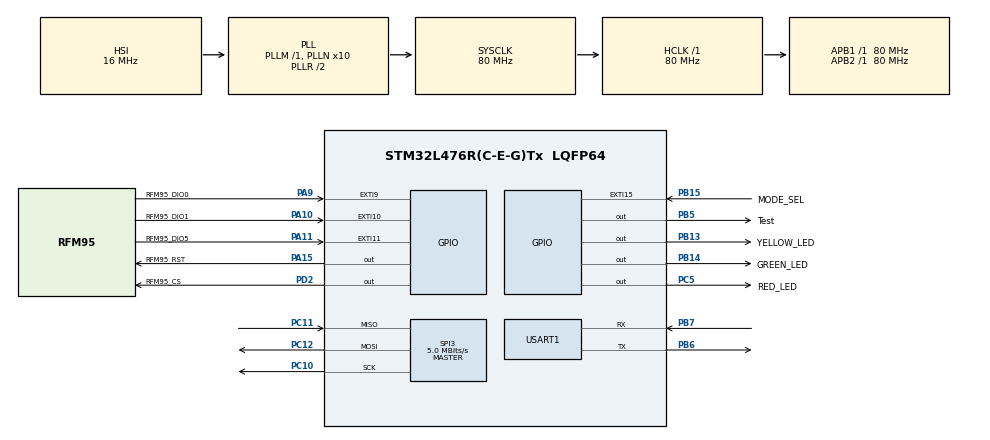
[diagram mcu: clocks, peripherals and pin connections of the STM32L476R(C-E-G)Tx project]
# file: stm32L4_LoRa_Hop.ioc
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Mcu.Family=STM32L4
Mcu.Name=STM32L476R(C-E-G)Tx
Mcu.Package=LQFP64
NVIC.EXTI15_10_IRQn=true\:0\:0\:false\:false\:true\:true\:true\:true
NVIC.EXTI9_5_IRQn=true\:0\:0\:false\:false\:true\:true\:true\:true
NVIC.LPTIM1_IRQn=true\:0\:0\:false\:false\:true\:true\:true\:true
NVIC.PriorityGroup=NVIC_PRIORITYGROUP_4
NVIC.RTC_WKUP_IRQn=true\:0\:0\:false\:false\:true\:true\:true\:true
PA10.GPIO_Label=RFM95_DIO1
PA10.Signal=GPXTI10
PA11.GPIO_Label=RFM95_DIO5
PA11.Signal=GPXTI11
PA13\ (JTMS-SWDIO).GPIO_Label=TMS
PA13\ (JTMS-SWDIO).Mode=Serial_Wire
PA13\ (JTMS-SWDIO).Signal=SYS_JTMS-SWDIO
PA14\ (JTCK-SWCLK).GPIO_Label=TCK
PA14\ (JTCK-SWCLK).Mode=Serial_Wire
PA14\ (JTCK-SWCLK).Signal=SYS_JTCK-SWCLK
PA15\ (JTDI).GPIO_Label=RFM95_RST
PA15\ (JTDI).GPIO_ModeDefaultOutputPP=GPIO_MODE_OUTPUT_OD
PA15\ (JTDI).GPIO_PuPd=GPIO_NOPULL
PA15\ (JTDI).PinState=GPIO_PIN_SET
PA15\ (JTDI).Signal=GPIO_Output
PA9.GPIO_Label=RFM95_DIO0
PA9.Signal=GPXTI9
PB13.GPIO_Label=YELLOW_LED
PB13.Signal=GPIO_Output
PB14.GPIO_Label=GREEN_LED
PB14.Signal=GPIO_Output
PB15.GPIO_Label=MODE_SEL
PB15.GPIO_PuPd=GPIO_PULLDOWN
PB15.Signal=GPXTI15
PB3\ (JTDO-TRACESWO).GPIO_Label=SWO
PB3\ (JTDO-TRACESWO).Signal=SYS_JTDO-SWO
PB5.GPIO_Label=Test
PB5.Signal=GPIO_Output
PB6.Mode=Asynchronous
PB6.Signal=USART1_TX
PB7.GPIO_PuPd=GPIO_PULLDOWN
PB7.Mode=Asynchronous
PB7.Signal=USART1_RX
PC10.Mode=Full_Duplex_Master
PC10.Signal=SPI3_SCK
PC11.GPIO_PuPd=GPIO_PULLUP
PC11.Mode=Full_Duplex_Master
PC11.Signal=SPI3_MISO
PC12.Mode=Full_Duplex_Master
PC12.Signal=SPI3_MOSI
PC14-OSC32_IN\ (PC14).Mode=LSE-External-Oscillator
PC14-OSC32_IN\ (PC14).Signal=RCC_OSC32_IN
PC15-OSC32_OUT\ (PC15).Mode=LSE-External-Oscillator
PC15-OSC32_OUT\ (PC15).Signal=RCC_OSC32_OUT
PC5.GPIO_Label=RED_LED
PC5.Signal=GPIO_Output
PD2.GPIO_Label=RFM95_CS
PD2.GPIO_ModeDefaultOutputPP=GPIO_MODE_OUTPUT_PP
PD2.GPIO_PuPd=GPIO_PULLUP
PD2.GPIO_Speed=GPIO_SPEED_FREQ_MEDIUM
PD2.PinState=GPIO_PIN_SET
PD2.Signal=GPIO_Output
ProjectManager.HeapSize=0x200
ProjectManager.StackSize=0x400
ProjectManager.TargetToolchain=STM32CubeIDE
RCC.ADCFreq_Value=64000000
RCC.AHBFreq_Value=80000000
RCC.APB1Freq_Value=80000000
RCC.APB1TimFreq_Value=80000000
RCC.APB2Freq_Value=80000000
RCC.APB2TimFreq_Value=80000000
RCC.CK48CLockSelection=RCC_USBCLKSOURCE_PLL
RCC.CortexFreq_Value=80000000
RCC.HCLKFreq_Value=80000000
RCC.HSE_VALUE=8000000
RCC.HSI_VALUE=16000000
RCC.LPTIM1CLockSelection=RCC_LPTIM1CLKSOURCE_LSE
RCC.MSI_VALUE=4000000
RCC.PLLN=10
RCC.PLLQ=RCC_PLLQ_DIV8
RCC.PLLSourceVirtual=RCC_PLLSOURCE_HSI
RCC.PREFETCH_ENABLE=1
RCC.RTCClockSelection=RCC_RTCCLKSOURCE_LSE
RCC.SYSCLKFreq_VALUE=80000000
RCC.SYSCLKSource=RCC_SYSCLKSOURCE_PLLCLK
RCC.USBFreq_Value=20000000
RCC.VCOOutputFreq_Value=160000000
SPI3.BaudRatePrescaler=SPI_BAUDRATEPRESCALER_16
SPI3.CalculateBaudRate=5.0 MBits/s
SPI3.DataSize=SPI_DATASIZE_8BIT
SPI3.Direction=SPI_DIRECTION_2LINES
SPI3.Mode=SPI_MODE_MASTER
SPI3.VirtualType=VM_MASTER
USART1.VirtualMode-Asynchronous=VM_ASYNC
VP_LPTIM1_VS_LPTIM_counterModeInternalClock.Mode=Counts__internal_clock_event_00
VP_RNG_VS_RNG.Mode=RNG_Activate
VP_RTC_VS_RTC_Activate.Mode=RTC_Enabled
VP_RTC_VS_RTC_Calendar.Mode=RTC_Calendar
VP_RTC_VS_RTC_WakeUp_intern.Mode=WakeUp
board=NUCLEO-L476RG

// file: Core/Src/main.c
/* USER CODE BEGIN Header */
/**
  ******************************************************************************
  * @file           : main.c
  * @brief          : Main program body
  ******************************************************************************
  * @attention
  *
  * Copyright (c) 2025 STMicroelectronics.
  * All rights reserved.
  *
  * This software is licensed under terms that can be found in the LICENSE file
  * in the root directory of this software component.
  * If no LICENSE file comes with this software, it is provided AS-IS.
  *
  ******************************************************************************
  */
/* USER CODE END Header */
#include "main.h"

/* USER CODE BEGIN Includes */
#include "stdio.h"
#include "string.h"
#include "lora.h"
#include "sys_settings.h"
#include "buff_manager.h"
#include "app_events.h"
#include "network_manager.h"
#include "status_led.h"
/* USER CODE END Includes */

/* USER CODE BEGIN PTD */
// rfm95 handler
rfm95_handle_t rfm95_handle = {0};

// setup linked list to hanlde TX sequence
LL_node tx_buff[BUFF_FIFO_SIZE];
LL_handler h_tx = {
    .head = 0,
    .tail = 0,
    .ins_idx = 0,

    .ll_status = LL_EMPTY,

    .ll_buff = &tx_buff[0]
};

// define RX buffer for BC payloads
rnode h_rx[BUFF_FIFO_SIZE];

// setup handler to manage RX - TX events
h_rx_tx h_buffs = {
    .h_rx  = &h_rx[0],
    .h_tx  = &h_tx,
    .state = FIFO_READY
};

// Network status handler
network_ctx_t h_net = {0};

// Structure to get current link quality status during deployment
link_metrics_t metrics = {0};

// system handler
Sys_handler h_sys = {
    //.evt_flags = SYS_EVT_NO_PENDING,
    .state     = SYS_RDY
};

/* USER CODE END PTD */

LPTIM_HandleTypeDef hlptim1;

RNG_HandleTypeDef hrng;

RTC_HandleTypeDef hrtc;

SPI_HandleTypeDef hspi3;

UART_HandleTypeDef huart1;

/* USER CODE BEGIN PV */
// ------------- LPTIM ----------------
volatile uint32_t lptim_tick_msb = 1;

// ----------- RX-TX FIFO -------------
events_flags app_flags = {0};           // handle status flags from RX TX buffers operation

uint32_t tx_evt_time  = 0; // TX scheduler timer
uint32_t alrm_th_time = 0; // Track threshold time in ms to shunt off ALRM state

volatile uint8_t alrm_cycles_cnt = 0; // track how many alarm standby cycles have passed

/* USER CODE END PV */

void SystemClock_Config(void);
static void MX_GPIO_Init(void);
static void MX_RTC_Init(void);
static void MX_SPI3_Init(void);
static void MX_LPTIM1_Init(void);
static void MX_RNG_Init(void);
static void MX_USART1_UART_Init(void);
/* USER CODE BEGIN PFP */
int _write(int file, char *ptr, int len);
void debug_pin_set();
void debug_pin_rst();

static bool     init_rfm();
static uint32_t get_precision_tick();
static void 		precision_sleep_until(uint32_t target_ticks);
static uint8_t	get_battery_level();
static void     rfm95_after_interrupts_configured();

uint8_t get_random_number(uint32_t *random_number, uint16_t timeout);
static uint16_t random_wait(uint16_t min, uint16_t max);
static void schedule_tx_evt(uint16_t min, uint16_t max);
static void schedule_alrmOFF_evt();
static inline void extend_alarm_time();
static uint32_t get_currTime_ms();
static inline int julian_day(int year, int month, int day);

static void update_status_led(const network_ctx_t *h_net);

void MySystemClock_Config(void);
void enterStopMode();

void print_LL();
/* USER CODE END PFP */

int main(void)
{

  /* MCU Configuration--------------------------------------------------------*/

  /* Reset of all peripherals, Initializes the Flash interface and the Systick. */
  HAL_Init();

  /* Configure the system clock */
  SystemClock_Config();

  /* Initialize all configured peripherals */
  MX_GPIO_Init();
  MX_RTC_Init();
  MX_SPI3_Init();
  MX_LPTIM1_Init();
  MX_RNG_Init();
  MX_USART1_UART_Init();
  /* USER CODE BEGIN 2 */

  // needed after programming -> avoid conflicts with sleep mode
  HAL_Delay(2000);

  // init RX and TX handler
  init_buffers(&h_buffs);

  // init RF in RX mode
  if (!init_rfm()) {
#if DEBUG_PRINT_ON
    printf("Error during RFM initialization\r\n");
#endif
  }

  /* If selector not in discovery mode */
  if (HAL_GPIO_ReadPin(MODE_SEL_GPIO_Port, MODE_SEL_Pin) != GPIO_PIN_RESET)
  {
  	while(1)
  	{
  		HAL_GPIO_TogglePin(RED_LED_GPIO_Port, RED_LED_Pin);
  		HAL_Delay(500);
  	}
  }

	#if NODE_IS_ROOT

	network_init_root(&h_net);

	#else

	network_init_unassigned(&h_net);

	/* generate and assign random token to this device */
	uint32_t discovery_token;
	uint8_t rng_err = get_random_number(&discovery_token, 5);
	h_net.discovery_token = discovery_token;

	schedule_tx_evt(DISCOVERY_PERIOD_MIN_MS, DISCOVERY_PERIOD_MAX_MS);

	#endif

  /* USER CODE END 2 */

  /* Infinite loop */
  /* USER CODE BEGIN WHILE */
  while (1){

  	// Update LEDs indicators:
  	update_status_led(&h_net);

    /* USER CODE END WHILE */

    /* USER CODE BEGIN 3 */

    /* System state machine */
    switch (h_sys.state){

			/* =====================================================
			 * SYS READY: SCHEDULE NEW EVENT
			 * ===================================================== */
      case SYS_RDY:
      {

        /* atomicity ensured during task registration */
        HAL_SuspendTick();
        __disable_irq();

        /* check pending flags */
        if (h_sys.rx_pending)									// RX event is pending
        {
        	//h_sys.evt_flags & SYS_EVT_RX_PENDING

          h_sys.state = SYS_HANDLE_RX;
          //h_sys.evt_flags &= ~SYS_EVT_RX_PENDING;
          h_sys.rx_pending = 0;

        }
        else if (h_sys.deploy_pending)  			// DEPLOY request event
        {
            /*
             * Process MODE_SEL before a potentially pending
             * periodic LINK_PROBE TX.
             */
            h_sys.state =
                SYS_HANDLE_MODE_SWITCH;

            h_sys.deploy_pending =
                false;
        }
        else if (h_sys.tx_pending)						// TX event is pending
        {
        	// h_sys.evt_flags & SYS_EVT_TX_PENDING

          h_sys.state = SYS_HANLDE_TX;
          //h_sys.evt_flags &= ~SYS_EVT_TX_PENDING;
          h_sys.tx_pending = 0;

        }
        else if (h_sys.err_pending)						// ERR event is pending
        {
        	//h_sys.evt_flags & SYS_EVT_ERROR

          // RFU...
          h_sys.state = SYS_HANDLE_ERR;
          //h_sys.evt_flags &= ~SYS_EVT_ERROR;
          h_sys.err_pending = 0;

        }
        else if (h_sys.timeout_pending)				// TIMEOUT event is pending
        {
        	// h_sys.evt_flags & SYS_EVT_TIMEOUT

          // RFU...
          h_sys.state = SYS_HANDLE_TIMEOUT;
          //h_sys.evt_flags &= ~SYS_EVT_TIMEOUT;
          h_sys.timeout_pending = 0;

        }
        else
        {
          // No events pending -> back to sleep
          enterStopMode();
        }

        /* end of atomic block */
        HAL_ResumeTick();
        __enable_irq();

        break;
      }

			/* =====================================================
			 * HANDLE RECEIVE REQUEST
			 * ===================================================== */
			case SYS_HANDLE_RX:
			{
        debug_pin_set();
        app_flags = on_rx_event(&rfm95_handle, &h_buffs, &h_net);
        debug_pin_rst();

        if (app_flags.err_flags)		 /* If any error occurred */
        {

          bool spi_err      = app_flags.err_flags & EVT_RFM_SPI_ERR;
          bool rx_err       = app_flags.err_flags & EVT_RFM_RX_ERR;
          bool rx_buff_full = app_flags.err_flags & EVT_RX_FIFO_FULL;
          bool bad_pkt_err  = app_flags.err_flags & EVT_BAD_PKT_FORMAT;

          if (spi_err)
          {
            // reset RFM and restart in RX mode
            HAL_NVIC_DisableIRQ(EXTI15_10_IRQn);
            reset_rfm(&rfm95_handle);
            init_rfm();
          }
          if (rx_err)
          {
            // PKT dropped, do nothing...
          }
          if (rx_buff_full)
          {
            // Avoid (resize FIFO Buff capacity)
          }
          if (bad_pkt_err)
          {
            //  Pkt ignored...
          }

        }
        else if (app_flags.status_flags)		/* If status flags are present */
        {

          bool alrm_pkt    = app_flags.status_flags & EVT_ALARM_PKT;
          bool tx_new_pkt  = app_flags.status_flags & EVT_SCHEDULE_TX;
          bool tx_ack_pkt  = app_flags.status_flags & EVT_SCHEDULE_ACK;
          bool tx_pri_evt  = app_flags.status_flags & EVT_SCHEDULE_PRI_TX;

          if (alrm_pkt)
          {
            if (h_buffs.state != FIFO_ALARM_ON)
            {
              if(tx_new_pkt || tx_ack_pkt) h_buffs.state = FIFO_ALARM_ON;
              else
              {
                h_buffs.state = FIFO_ALARM_STDBY;
                schedule_alrmOFF_evt();
              }
            }
          }

          if (tx_ack_pkt)
          {
						/*
						 * Alarm ACK remains highest priority.
						 */
						schedule_tx_evt(
								MIN_WAIT_TIME_ALRM_ACK,
								MAX_WAIT_TIME_ALRM_ACK
						);
          }
          else if (tx_pri_evt)
          {
						/*
						 * DISC_OFFER / ACCEPT / CONFIRM
						 */
						schedule_tx_evt(
								MIN_WAIT_TIME_SHORT,
								MAX_WAIT_TIME_SHORT
						);
          }
          else if (tx_new_pkt)
          {
						schedule_tx_evt(
								MIN_WAIT_TIME_NEW,
								MAX_WAIT_TIME_NEW
						);
          }
        }

        // make system ready again
        h_sys.state = SYS_RDY;
        break;
			}

			/* =====================================================
			 * HANDLE DEPLOYMENT REQUEST
			 * ===================================================== */
      case SYS_HANDLE_MODE_SWITCH:
      {
				bool accepted =
						network_request_deployment(
								&h_net
						);

				if (accepted)
				{
					/*
					 * First DEPLOY_REQ should be sent quickly.
					 */
					schedule_tx_evt(
							MIN_WAIT_TIME_SHORT,
							MAX_WAIT_TIME_SHORT
					);
				}
				else
				{
					// ignore...
				}

				h_sys.state =
						SYS_RDY;

				break;
      }

      /* =====================================================
			 * HANDLE TRANSMISSION REQUEST
			 * ===================================================== */
      case SYS_HANLDE_TX:
      {
        HAL_RTCEx_DeactivateWakeUpTimer(&hrtc);

        debug_pin_set();
        app_flags = on_tx_event(&rfm95_handle, &h_buffs, &h_net);
        debug_pin_rst();

        if (app_flags.err_flags)		 /* If any error occurred */
        {

          bool spi_err = app_flags.err_flags & EVT_RFM_SPI_ERR;

          if (spi_err)
          {

            // reset RFM and restart in RX mode
            HAL_NVIC_DisableIRQ(EXTI15_10_IRQn);
            reset_rfm(&rfm95_handle);
            init_rfm();

            // reschedule a TX in case of error, just to avoid stucking in the TX queue
            schedule_tx_evt(MIN_WAIT_TIME_SHORT, MAX_WAIT_TIME_SHORT);
          }
          // RFU... add other flags

        }
        else if (app_flags.status_flags)		  /* If status flags are present */
        {

          bool rfm_modem_busy  = app_flags.status_flags & EVT_RFM_MODEM_RX;
          bool tx_fifo_empty   = app_flags.status_flags & EVT_TX_FIFO_EMPTY;
          bool tx_pri_evt      = app_flags.status_flags & EVT_SCHEDULE_PRI_TX;
          bool tx_normal_evt   = app_flags.status_flags & EVT_SCHEDULE_TX;
          bool tx_periodic_evt = app_flags.status_flags & EVT_SCHEDULE_PERIODIC_TX;

          if (rfm_modem_busy)
          {
						schedule_tx_evt(
								MIN_WAIT_TIME_SHORT,
								MAX_WAIT_TIME_SHORT
						);
          }

          else if (tx_pri_evt)
          {
						schedule_tx_evt(
								MIN_WAIT_TIME_SHORT,
								MAX_WAIT_TIME_SHORT
						);
          }

          else if (tx_normal_evt)
          {

          	if ((h_net.state == NODE_WAIT_DEPLOY_CONFIRM) &&
          	    (h_net.pending_net_tx == DEPLOY_REQ))
          	{
          		/*
          		 * If we are in DEPLOY_CONFIRM,
          		 * this is a DEPLOY_REQ retransmission.
          		 */
							schedule_tx_evt(
									MIN_WAIT_DEPLOY_RETX_MS,
									MAX_WAIT_DEPLOY_RETX_MS
							);
          	}
          	else if ((h_net.state == NODE_WAIT_DISC_CONFIRM) &&
								(h_net.pending_net_tx == DISC_ACCEPT))
						{
          		/*
							 * If we are waiting for DISC_CONFIRM,
							 * this is a DISC_ACCEPT retransmission.
							 */
							schedule_tx_evt(
									MIN_WAIT_TIME_LONG,
									MAX_WAIT_TIME_LONG
							);
						}
						else if (h_buffs.state == FIFO_READY)
						{
							schedule_tx_evt(
									MIN_WAIT_TIME_LONG,
									MAX_WAIT_TIME_LONG
							);
						}
						else
						{
							schedule_tx_evt(
									MIN_WAIT_ALRM_RETX,
									MAX_WAIT_ALRM_RETX
							);
						}
          }

					else if (tx_periodic_evt)
					{
						if (h_net.state == NODE_DISCOVERING)
						{
							/*
							 * DISC_REQ remains pending while NODE_DISCOVERING.
							 */
							schedule_tx_evt(
									DISCOVERY_PERIOD_MIN_MS,
									DISCOVERY_PERIOD_MAX_MS
							);
						}
						else if (h_net.state ==
										 NODE_ASSIGNED_PENDING_LINK)
						{
							/*
							 * LINK_REQ must be rescheduled when timer has elapsed
							 */
							schedule_tx_evt(
									LINK_TEST_PERIOD_MS,
									LINK_TEST_PERIOD_MS+50U
							);

							network_get_link_metrics(&h_net, &metrics);
						}
					}

					else if (tx_fifo_empty)
					{
						/*
						 * Keep your current ALARM state handling.
						 */
						if (h_buffs.state == FIFO_ALARM_ON){
							/* No alarm events are pending in TX queue */

							/* Program end of ALARM mode */
							h_buffs.state = FIFO_ALARM_STDBY;
							schedule_alrmOFF_evt();

						} else if (h_buffs.state == FIFO_ALARM_STDBY){
							/*
							 * If after an hysteresis time the system ALARM queue
							 * is still empty -> EXIT ALARM MODE
							 */
							h_buffs.state = FIFO_READY;
							init_buffers(&h_buffs);

						} else {
							// Normal operating mode -> do nothing
						}
					}

        }
        else 													 /* No events pending */
        {
          // no events pending -> do nothing
        }

        // make system ready again
        h_sys.state = SYS_RDY;
        break;
      }

      case SYS_HANDLE_ERR:       /* Sys handle ERR event */
      {
        // RFU...

        // make system ready again
        h_sys.state = SYS_RDY;
        break;
      }

      case SYS_HANDLE_TIMEOUT:   /* Sys handle TIMEOUT event */
      {
        //RFU...

        // make system ready again
        h_sys.state = SYS_RDY;
        break;
      }

      default:
        h_sys.state = SYS_RDY;
        break;

    }

  } // End of While superloop
  /* USER CODE END 3 */
}

void SystemClock_Config(void)
{
  RCC_OscInitTypeDef RCC_OscInitStruct = {0};
  RCC_ClkInitTypeDef RCC_ClkInitStruct = {0};

  /** Configure the main internal regulator output voltage
  */
  if (HAL_PWREx_ControlVoltageScaling(PWR_REGULATOR_VOLTAGE_SCALE1) != HAL_OK)
  {
    Error_Handler();
  }

  /** Configure LSE Drive Capability
  */
  HAL_PWR_EnableBkUpAccess();
  __HAL_RCC_LSEDRIVE_CONFIG(RCC_LSEDRIVE_LOW);

  /** Initializes the RCC Oscillators according to the specified parameters
  * in the RCC_OscInitTypeDef structure.
  */
  RCC_OscInitStruct.OscillatorType = RCC_OSCILLATORTYPE_HSI|RCC_OSCILLATORTYPE_LSE;
  RCC_OscInitStruct.LSEState = RCC_LSE_ON;
  RCC_OscInitStruct.HSIState = RCC_HSI_ON;
  RCC_OscInitStruct.HSICalibrationValue = RCC_HSICALIBRATION_DEFAULT;
  RCC_OscInitStruct.PLL.PLLState = RCC_PLL_ON;
  RCC_OscInitStruct.PLL.PLLSource = RCC_PLLSOURCE_HSI;
  RCC_OscInitStruct.PLL.PLLM = 1;
  RCC_OscInitStruct.PLL.PLLN = 10;
  RCC_OscInitStruct.PLL.PLLP = RCC_PLLP_DIV7;
  RCC_OscInitStruct.PLL.PLLQ = RCC_PLLQ_DIV8;
  RCC_OscInitStruct.PLL.PLLR = RCC_PLLR_DIV2;
  if (HAL_RCC_OscConfig(&RCC_OscInitStruct) != HAL_OK)
  {
    Error_Handler();
  }

  /** Initializes the CPU, AHB and APB buses clocks
  */
  RCC_ClkInitStruct.ClockType = RCC_CLOCKTYPE_HCLK|RCC_CLOCKTYPE_SYSCLK
                              |RCC_CLOCKTYPE_PCLK1|RCC_CLOCKTYPE_PCLK2;
  RCC_ClkInitStruct.SYSCLKSource = RCC_SYSCLKSOURCE_PLLCLK;
  RCC_ClkInitStruct.AHBCLKDivider = RCC_SYSCLK_DIV1;
  RCC_ClkInitStruct.APB1CLKDivider = RCC_HCLK_DIV1;
  RCC_ClkInitStruct.APB2CLKDivider = RCC_HCLK_DIV1;

  if (HAL_RCC_ClockConfig(&RCC_ClkInitStruct, FLASH_LATENCY_4) != HAL_OK)
  {
    Error_Handler();
  }
}

static void MX_LPTIM1_Init(void)
{

  hlptim1.Instance = LPTIM1;
  hlptim1.Init.Clock.Source = LPTIM_CLOCKSOURCE_APBCLOCK_LPOSC;
  hlptim1.Init.Clock.Prescaler = LPTIM_PRESCALER_DIV1;
  hlptim1.Init.Trigger.Source = LPTIM_TRIGSOURCE_SOFTWARE;
  hlptim1.Init.OutputPolarity = LPTIM_OUTPUTPOLARITY_HIGH;
  hlptim1.Init.UpdateMode = LPTIM_UPDATE_IMMEDIATE;
  hlptim1.Init.CounterSource = LPTIM_COUNTERSOURCE_INTERNAL;
  hlptim1.Init.Input1Source = LPTIM_INPUT1SOURCE_GPIO;
  hlptim1.Init.Input2Source = LPTIM_INPUT2SOURCE_GPIO;
  if (HAL_LPTIM_Init(&hlptim1) != HAL_OK)
  {
    Error_Handler();
  }

}

static void MX_RNG_Init(void)
{

  hrng.Instance = RNG;
  if (HAL_RNG_Init(&hrng) != HAL_OK)
  {
    Error_Handler();
  }

}

static void MX_RTC_Init(void)
{

  RTC_TimeTypeDef sTime = {0};
  RTC_DateTypeDef sDate = {0};

  /** Initialize RTC Only
  */
  hrtc.Instance = RTC;
  hrtc.Init.HourFormat = RTC_HOURFORMAT_24;
  hrtc.Init.AsynchPrediv = 127;
  hrtc.Init.SynchPrediv = 255;
  hrtc.Init.OutPut = RTC_OUTPUT_DISABLE;
  hrtc.Init.OutPutRemap = RTC_OUTPUT_REMAP_NONE;
  hrtc.Init.OutPutPolarity = RTC_OUTPUT_POLARITY_HIGH;
  hrtc.Init.OutPutType = RTC_OUTPUT_TYPE_OPENDRAIN;
  if (HAL_RTC_Init(&hrtc) != HAL_OK)
  {
    Error_Handler();
  }

  /** Initialize RTC and set the Time and Date
  */
  sTime.Hours = 0x0;
  sTime.Minutes = 0x0;
  sTime.Seconds = 0x0;
  sTime.DayLightSaving = RTC_DAYLIGHTSAVING_NONE;
  sTime.StoreOperation = RTC_STOREOPERATION_RESET;
  if (HAL_RTC_SetTime(&hrtc, &sTime, RTC_FORMAT_BCD) != HAL_OK)
  {
    Error_Handler();
  }
  sDate.WeekDay = RTC_WEEKDAY_MONDAY;
  sDate.Month = RTC_MONTH_JANUARY;
  sDate.Date = 0x1;
  sDate.Year = 0x0;

  if (HAL_RTC_SetDate(&hrtc, &sDate, RTC_FORMAT_BCD) != HAL_OK)
  {
    Error_Handler();
  }
  /* USER CODE BEGIN RTC_Init 2 */

  // Init RTC with reference date
  sTime.Hours = 0x0;
  sTime.Minutes = 0x0;
  sTime.Seconds = 0x0;
  sTime.DayLightSaving = RTC_DAYLIGHTSAVING_NONE;
  sTime.StoreOperation = RTC_STOREOPERATION_RESET;
  if (HAL_RTC_SetTime(&hrtc, &sTime, RTC_FORMAT_BCD) != HAL_OK)
  {
    Error_Handler();
  }
  sDate.WeekDay = RTC_WEEKDAY_MONDAY;
  sDate.Month = START_MONTH;
  sDate.Date = START_DAY;
  sDate.Year = START_YEAR;

  if (HAL_RTC_SetDate(&hrtc, &sDate, RTC_FORMAT_BCD) != HAL_OK)
  {
    Error_Handler();
  }

  // make sure RTC wkup is not running:
  HAL_RTCEx_DeactivateWakeUpTimer(&hrtc);

  /* USER CODE END RTC_Init 2 */

}

static void MX_SPI3_Init(void)
{

  /* SPI3 parameter configuration*/
  hspi3.Instance = SPI3;
  hspi3.Init.Mode = SPI_MODE_MASTER;
  hspi3.Init.Direction = SPI_DIRECTION_2LINES;
  hspi3.Init.DataSize = SPI_DATASIZE_8BIT;
  hspi3.Init.CLKPolarity = SPI_POLARITY_LOW;
  hspi3.Init.CLKPhase = SPI_PHASE_1EDGE;
  hspi3.Init.NSS = SPI_NSS_SOFT;
  hspi3.Init.BaudRatePrescaler = SPI_BAUDRATEPRESCALER_16;
  hspi3.Init.FirstBit = SPI_FIRSTBIT_MSB;
  hspi3.Init.TIMode = SPI_TIMODE_DISABLE;
  hspi3.Init.CRCCalculation = SPI_CRCCALCULATION_DISABLE;
  hspi3.Init.CRCPolynomial = 7;
  hspi3.Init.CRCLength = SPI_CRC_LENGTH_DATASIZE;
  hspi3.Init.NSSPMode = SPI_NSS_PULSE_ENABLE;
  if (HAL_SPI_Init(&hspi3) != HAL_OK)
  {
    Error_Handler();
  }
  /* USER CODE BEGIN SPI3_Init 2 */
  /*
   * This dummy sequence sets clock LOW when idle, MOSI and MISO to a definite state (either HIGH or LOW)
   */
   uint8_t dummy = 0xFF;
   HAL_SPI_Transmit(&hspi3, &dummy, 1, 10);

  /* USER CODE END SPI3_Init 2 */

}

static void MX_USART1_UART_Init(void)
{

  huart1.Instance = USART1;
  huart1.Init.BaudRate = 115200;
  huart1.Init.WordLength = UART_WORDLENGTH_8B;
  huart1.Init.StopBits = UART_STOPBITS_1;
  huart1.Init.Parity = UART_PARITY_NONE;
  huart1.Init.Mode = UART_MODE_TX_RX;
  huart1.Init.HwFlowCtl = UART_HWCONTROL_NONE;
  huart1.Init.OverSampling = UART_OVERSAMPLING_16;
  huart1.Init.OneBitSampling = UART_ONE_BIT_SAMPLE_DISABLE;
  huart1.AdvancedInit.AdvFeatureInit = UART_ADVFEATURE_NO_INIT;
  if (HAL_UART_Init(&huart1) != HAL_OK)
  {
    Error_Handler();
  }

}

static void MX_GPIO_Init(void)
{
  GPIO_InitTypeDef GPIO_InitStruct = {0};

  /* GPIO Ports Clock Enable */
  __HAL_RCC_GPIOC_CLK_ENABLE();
  __HAL_RCC_GPIOH_CLK_ENABLE();
  __HAL_RCC_GPIOA_CLK_ENABLE();
  __HAL_RCC_GPIOB_CLK_ENABLE();
  __HAL_RCC_GPIOD_CLK_ENABLE();

  /*Configure GPIO pin Output Level */
  HAL_GPIO_WritePin(RED_LED_GPIO_Port, RED_LED_Pin, GPIO_PIN_RESET);

  /*Configure GPIO pin Output Level */
  HAL_GPIO_WritePin(GPIOB, YELLOW_LED_Pin|GREEN_LED_Pin|Test_Pin, GPIO_PIN_RESET);

  /*Configure GPIO pin Output Level */
  HAL_GPIO_WritePin(RFM95_RST_GPIO_Port, RFM95_RST_Pin, GPIO_PIN_SET);

  /*Configure GPIO pin Output Level */
  HAL_GPIO_WritePin(RFM95_CS_GPIO_Port, RFM95_CS_Pin, GPIO_PIN_SET);

  /*Configure GPIO pins : PC13 PC0 PC1 PC2
                           PC3 PC4 PC6 PC7
                           PC8 PC9 */
  GPIO_InitStruct.Pin = GPIO_PIN_13|GPIO_PIN_0|GPIO_PIN_1|GPIO_PIN_2
                          |GPIO_PIN_3|GPIO_PIN_4|GPIO_PIN_6|GPIO_PIN_7
                          |GPIO_PIN_8|GPIO_PIN_9;
  GPIO_InitStruct.Mode = GPIO_MODE_ANALOG;
  GPIO_InitStruct.Pull = GPIO_NOPULL;
  HAL_GPIO_Init(GPIOC, &GPIO_InitStruct);

  /*Configure GPIO pins : PH0 PH1 */
  GPIO_InitStruct.Pin = GPIO_PIN_0|GPIO_PIN_1;
  GPIO_InitStruct.Mode = GPIO_MODE_ANALOG;
  GPIO_InitStruct.Pull = GPIO_NOPULL;
  HAL_GPIO_Init(GPIOH, &GPIO_InitStruct);

  /*Configure GPIO pins : PA0 PA1 PA2 PA3
                           PA4 PA5 PA6 PA7
                           PA8 PA12 */
  GPIO_InitStruct.Pin = GPIO_PIN_0|GPIO_PIN_1|GPIO_PIN_2|GPIO_PIN_3
                          |GPIO_PIN_4|GPIO_PIN_5|GPIO_PIN_6|GPIO_PIN_7
                          |GPIO_PIN_8|GPIO_PIN_12;
  GPIO_InitStruct.Mode = GPIO_MODE_ANALOG;
  GPIO_InitStruct.Pull = GPIO_NOPULL;
  HAL_GPIO_Init(GPIOA, &GPIO_InitStruct);

  /*Configure GPIO pin : RED_LED_Pin */
  GPIO_InitStruct.Pin = RED_LED_Pin;
  GPIO_InitStruct.Mode = GPIO_MODE_OUTPUT_PP;
  GPIO_InitStruct.Pull = GPIO_NOPULL;
  GPIO_InitStruct.Speed = GPIO_SPEED_FREQ_LOW;
  HAL_GPIO_Init(RED_LED_GPIO_Port, &GPIO_InitStruct);

  /*Configure GPIO pins : PB0 PB1 PB2 PB10
                           PB11 PB12 PB4 PB8
                           PB9 */
  GPIO_InitStruct.Pin = GPIO_PIN_0|GPIO_PIN_1|GPIO_PIN_2|GPIO_PIN_10
                          |GPIO_PIN_11|GPIO_PIN_12|GPIO_PIN_4|GPIO_PIN_8
                          |GPIO_PIN_9;
  GPIO_InitStruct.Mode = GPIO_MODE_ANALOG;
  GPIO_InitStruct.Pull = GPIO_NOPULL;
  HAL_GPIO_Init(GPIOB, &GPIO_InitStruct);

  /*Configure GPIO pins : YELLOW_LED_Pin GREEN_LED_Pin Test_Pin */
  GPIO_InitStruct.Pin = YELLOW_LED_Pin|GREEN_LED_Pin|Test_Pin;
  GPIO_InitStruct.Mode = GPIO_MODE_OUTPUT_PP;
  GPIO_InitStruct.Pull = GPIO_NOPULL;
  GPIO_InitStruct.Speed = GPIO_SPEED_FREQ_LOW;
  HAL_GPIO_Init(GPIOB, &GPIO_InitStruct);

  /*Configure GPIO pin : MODE_SEL_Pin */
  GPIO_InitStruct.Pin = MODE_SEL_Pin;
  GPIO_InitStruct.Mode = GPIO_MODE_IT_RISING;
  GPIO_InitStruct.Pull = GPIO_PULLDOWN;
  HAL_GPIO_Init(MODE_SEL_GPIO_Port, &GPIO_InitStruct);

  /*Configure GPIO pins : RFM95_DIO0_Pin RFM95_DIO1_Pin RFM95_DIO5_Pin */
  GPIO_InitStruct.Pin = RFM95_DIO0_Pin|RFM95_DIO1_Pin|RFM95_DIO5_Pin;
  GPIO_InitStruct.Mode = GPIO_MODE_IT_RISING;
  GPIO_InitStruct.Pull = GPIO_NOPULL;
  HAL_GPIO_Init(GPIOA, &GPIO_InitStruct);

  /*Configure GPIO pin : RFM95_RST_Pin */
  GPIO_InitStruct.Pin = RFM95_RST_Pin;
  GPIO_InitStruct.Mode = GPIO_MODE_OUTPUT_OD;
  GPIO_InitStruct.Pull = GPIO_NOPULL;
  GPIO_InitStruct.Speed = GPIO_SPEED_FREQ_LOW;
  HAL_GPIO_Init(RFM95_RST_GPIO_Port, &GPIO_InitStruct);

  /*Configure GPIO pin : RFM95_CS_Pin */
  GPIO_InitStruct.Pin = RFM95_CS_Pin;
  GPIO_InitStruct.Mode = GPIO_MODE_OUTPUT_PP;
  GPIO_InitStruct.Pull = GPIO_PULLUP;
  GPIO_InitStruct.Speed = GPIO_SPEED_FREQ_MEDIUM;
  HAL_GPIO_Init(RFM95_CS_GPIO_Port, &GPIO_InitStruct);

  /* EXTI interrupt init*/
  HAL_NVIC_SetPriority(EXTI9_5_IRQn, 0, 0);
  HAL_NVIC_EnableIRQ(EXTI9_5_IRQn);

//  HAL_NVIC_SetPriority(EXTI15_10_IRQn, 0, 0);
//  HAL_NVIC_EnableIRQ(EXTI15_10_IRQn);

}

/* USER CODE BEGIN 4 */

// -------------- RFM95 user defined functions -------------------

/*
 *
 */
bool init_rfm(){

  // Start lptim timer
  HAL_LPTIM_Counter_Start_IT(&hlptim1, 0xFFFF);

  // config RFM95
  rfm95_handle.rfm_timer  = &hlptim1;
  rfm95_handle.spi_handle = &hspi3;
  rfm95_handle.nrst_port  = RFM95_RST_GPIO_Port;
  rfm95_handle.nrst_pin   = RFM95_RST_Pin;
  rfm95_handle.nss_port   = RFM95_CS_GPIO_Port;
  rfm95_handle.nss_pin    = RFM95_CS_Pin;

  rfm95_handle.precision_tick_frequency = LSE_CLK;
  rfm95_handle.precision_tick_drift_ns_per_s = 20000;
  rfm95_handle.get_precision_tick = get_precision_tick;
  rfm95_handle.precision_sleep_until = precision_sleep_until;
  rfm95_handle.on_after_interrupts_configured = rfm95_after_interrupts_configured;
  //rfm95_handle.random_int = random_int;
  rfm95_handle.get_battery_level = get_battery_level;

  // Modify parameters here:
  rfm95_set_power(&rfm95_handle, LORA_TX_POWER); // power 2 dBm - 17 dBm
  rfm95_set_frequency(&rfm95_handle, LORA_CH_FREQ);
  rfm95_set_BW(&rfm95_handle, LORA_BW);
  rfm95_set_CR(&rfm95_handle, LORA_CR);
  rfm95_set_SF(&rfm95_handle, LORA_SF);
  rfm95_set_syncWord(&rfm95_handle, LORA_SYNC_WORD);

  // initialize RFM95
  if(!rfm95_init(&rfm95_handle)) return false;

  // set RFM95 to continuous RX mode
  if(!rfm95_enter_rx_mode(&rfm95_handle)) return false;

  return true;
}

/*
 * return precise timing based on internal LPTIM module
 */
static uint32_t get_precision_tick(){
	__disable_irq();
	uint32_t precision_tick = lptim_tick_msb | HAL_LPTIM_ReadCounter(&hlptim1);
	__enable_irq();
	return precision_tick;
}

/*
 * Allows to set the MCU into STOP2 mode with accurate wkup timer
 */
static void precision_sleep_until(uint32_t target_ticks){
	while(1){
		uint32_t curr_tick = get_precision_tick();

		// exit condition:
		if(target_ticks < curr_tick) break;

		uint32_t sleep_ticks = target_ticks - curr_tick;

		// avoid short sleep intervals:
		if(sleep_ticks < 10) break;
		else {
			// overall CMP value - some margin (needed to reset clock configurations after stop mode2)
			uint32_t compare_tick = (curr_tick & 0xFFFF) + sleep_ticks - 10;

			if (compare_tick >= 0xFFFF){ // ARR will awake MCU before compare
				HAL_SuspendTick();
				enterStopMode();
			} else { // otherwise CMP keeps MCU sleep all time
				__HAL_LPTIM_CLEAR_FLAG(&hlptim1, LPTIM_FLAG_CMPOK);
				__HAL_LPTIM_COMPARE_SET(&hlptim1, compare_tick);            // set CMP limit

				while (!__HAL_LPTIM_GET_FLAG(&hlptim1, LPTIM_FLAG_CMPOK));  // wait for effective change

				__HAL_LPTIM_CLEAR_FLAG(&hlptim1, LPTIM_FLAG_CMPM);          // clear CMP interrupt flag
				__HAL_LPTIM_ENABLE_IT(&hlptim1, LPTIM_IT_CMPM);             // enable CMP interrupt

				HAL_SuspendTick();
				enterStopMode();

				__HAL_LPTIM_DISABLE_IT(&hlptim1, LPTIM_IT_CMPM);            // disable CMP interrupt
			}
		}
	}

	while(get_precision_tick() < target_ticks);                       // wait residue time here ( < 10 ticks)
}

static uint8_t get_battery_level(){
	return 0;
}

/*
 * This function is executed after initializing rfm95 (ready to accept interrupts
 * without hard fault errors)
 */
void rfm95_after_interrupts_configured(){
  HAL_NVIC_SetPriority(EXTI15_10_IRQn, 0, 0);
  HAL_NVIC_EnableIRQ(EXTI15_10_IRQn);
}

/* Get random number from internal RNG.
 * This function automatically manages activation/de-activation of RNG module to save power
 *
 * return values:
 * - 0 = no errors
 * - 1 = timeout
 * - 2 = seed error  -> RNG must be reinitialized (random number must be discarded)
 * - 3 = Clock error -> ensure rng_clk >= ahb_clk/16 (>= 5 MHz)
 */
uint8_t get_random_number(uint32_t *random_number, uint16_t timeout){

  // enable RNG peripheral:
  __HAL_RNG_ENABLE(&hrng);

  // clear clock error and seed error interrupt flags:
  __HAL_RNG_CLEAR_IT(&hrng, RNG_IT_CEI);
  __HAL_RNG_CLEAR_IT(&hrng, RNG_IT_SEI);

  // wait for data ready bit to be set:
  uint32_t start = HAL_GetTick();
  while(!__HAL_RNG_GET_FLAG(&hrng, RNG_FLAG_DRDY)){
    if (HAL_GetTick() - start > timeout) {
      __HAL_RNG_DISABLE(&hrng);
      return 1;
    }
  }

  // RNG can be switched off here:
  __HAL_RNG_DISABLE(&hrng);

  // check seed error:
  if(__HAL_RNG_GET_IT(&hrng, RNG_IT_SEI)) return 2;

  // check clock error:
  if(__HAL_RNG_GET_IT(&hrng, RNG_IT_CEI)) return 3;

  *random_number = hrng.Instance->DR;

  // check event seed error occurred while loading data:
  if(*random_number == 0) return 2;

  return 0;
}

/* Generate random number in range [min, max] expressed in
 * milliseconds
 *
 * If min > max, or max == 0, the random wait is skipped,
 * and 0 is returned as default.
 *
 * @param uint16_t  max represents maximum time (in ms)
 * @param uint16_t  min represents minimum time (in ms)
 *
 * @return uint16_t in range [min, max]
 */
static uint16_t random_wait(uint16_t min, uint16_t max){
  if ((min >= max) || (max == 0)) return 0;

  uint32_t num;
  uint8_t rng_err = get_random_number(&num, 1);

  if (rng_err){
    // TODO handle potential rng seed error/clock error here...

    num = 0;
  }

  uint16_t range = max - min + 1;
  return (uint16_t)(min + (num % range));
}

/* Setup the RTC wake-up counter to generate an interrupt event
 * used to schedule the next transmission within a time window
 * raging from [min, max] milliseconds.
 *  -> If the computed time is smaller than 5 ms the RTC event is skipped and
 *     the transmission EVT flag (SYS_EVT_TX_PENDING) is immediately set.
 *  -> If a WKUP timer is already running, the shortest between remaining time and
 *     the new computed time is kept
 *
 * SET MIN = MAX = 0 to skip the wait time and immediately schedule a new transmission
 * event.
 *
 * @param uint16_t  max represents maximum time (in ms) for the random wait
 * @param uint16_t  min represents minimum time (in ms) for the random wait
 *
 * @return uint16_t in range [min, max]
 */
static void schedule_tx_evt(uint16_t min, uint16_t max){
  // get random time between [min, max] (in milliseconds)
  uint16_t t_rand = random_wait(min, max);

  if (t_rand <= 5) {
    /*
     * if less than 5 ms (10 RTC ticks) are computed, skip the timer
     * and directly set a TX event
     */
    HAL_RTCEx_DeactivateWakeUpTimer(&hrtc);

    //h_sys.evt_flags |= SYS_EVT_TX_PENDING;
    h_sys.tx_pending = true;
    return;
  }

  // new EVT time in milliseconds
  uint32_t curr_time_ms = get_currTime_ms();
  uint32_t new_evt_time = curr_time_ms + t_rand;

  if (RTC->CR & RTC_CR_WUTE) { /* RTC WKUP already running */

    // If running timer is close to trigger -> wait for it
    if (tx_evt_time <= new_evt_time + 10) return;

    // otherwise block previous timer and start a new one with shorter WKUP CNT
    HAL_RTCEx_DeactivateWakeUpTimer(&hrtc);

  }

  tx_evt_time = new_evt_time;

  // compute corresponding RTC number of ticks
  uint32_t wakeUpCounter = (uint32_t) ((t_rand * LSE_CLK / 16u)/(1000u));

  HAL_RTCEx_SetWakeUpTimer_IT(&hrtc, wakeUpCounter, RTC_WAKEUPCLOCK_RTCCLK_DIV16);
}

/*
 * TODO
 */
static void schedule_alrmOFF_evt(){
  alrm_cycles_cnt = 0;

  /* ensure RTC WKUP not running */
  if (RTC->CR & RTC_CR_WUTE) HAL_RTCEx_DeactivateWakeUpTimer(&hrtc);

  if (ALARM_TIMEOUT_MS < 20){
    /*
     * if less than 20 ms are computed, skip the timer
     * and directly set a new event
     */

    //h_sys.evt_flags |= SYS_EVT_TX_PENDING;
    h_sys.tx_pending = true;
    return;
  }

  // new EVT time in milliseconds
  uint32_t curr_time_ms = get_currTime_ms();
  uint32_t new_evt_time = curr_time_ms + ALARM_TIMEOUT_MS;

  tx_evt_time = new_evt_time;

  // compute corresponding RTC number of ticks
  uint32_t wakeUpCounter = (uint32_t) ((ALARM_TIMEOUT_MS * LSE_CLK / 16u)/(1000u) - 1);

  HAL_RTCEx_SetWakeUpTimer_IT(&hrtc, wakeUpCounter, RTC_WAKEUPCLOCK_RTCCLK_DIV16);
}

/*
 * TODO
 */
static inline void extend_alarm_time(){
  alrm_th_time = get_currTime_ms() + ALARM_TIMEOUT_MS;
}

/*
 * TODO
 */
static inline int julian_day(int year, int month, int day){
  if (month <= 2) {
    year -= 1;
    month += 12;
  }
  int A = year / 100;
  int B = 2 - A + (A / 4);
  int jd = (int)(365.25 * (year + 4716))
         + (int)(30.6001 * (month + 1))
         + day + B - 1524;
  return jd;
}

/*
 * TODO
 */
static uint32_t get_currTime_ms(){
  RTC_TimeTypeDef sTime;
  RTC_DateTypeDef sDate;

  HAL_RTC_GetTime(&hrtc, &sTime, RTC_FORMAT_BIN);
  HAL_RTC_GetDate(&hrtc, &sDate, RTC_FORMAT_BIN);  // latch time

  // compute time elapsed in days
  int ref_day = julian_day(START_YEAR_DEC, START_MONTH_DEC, START_DAY_DEC);
  int today   = julian_day(sDate.Year, sDate.Month, sDate.Date);

  uint32_t days_elapsed = today - ref_day;

  uint32_t days_elapsed_ms = days_elapsed * MS_PER_DAY;

  // read milliseconds register:
  uint16_t milliseconds = (uint16_t)(((sTime.SecondFraction - sTime.SubSeconds) * 1000U) / (sTime.SecondFraction + 1));

  // milliseconds elapsed since reference date:
  uint32_t now_ms = days_elapsed_ms + ((sTime.Hours * S_PER_HOUR + sTime.Minutes * S_PER_MIN + sTime.Seconds)*MS_PER_S) + milliseconds;

  return now_ms;
}

/*
 * Update LED indicators depending on current network status
 *
 * @param const network_ctx_t *h_net network context handler.
 */
static void update_status_led(
    const network_ctx_t *h_net
)
{
	static bool initialized = false;

	static status_led_mode_t current_mode =
			LED_STATUS_OFF;

	status_led_mode_t requested_mode =
			LED_STATUS_OFF;

	switch (h_net->state)
	{
		/*
		 * Pairing not completed:
		 * blink all three LEDs.
		 */
		case NODE_DISCOVERING:

		case NODE_WAIT_DISC_CONFIRM:

			requested_mode =
					LED_STATUS_DISCOVERY;

			break;

		/*
		 * Pairing completed; link quality is being
		 * measured or has already been classified.
		 */
		case NODE_ASSIGNED_PENDING_LINK:
		{
			link_metrics_t metrics = {0};

			/*
			 * Window not full yet:
			 * keep the central LED blinking.
			 */
			if (!network_get_link_metrics(
							h_net,
							&metrics))
			{
				requested_mode =
						LED_STATUS_LINK_TEST;

				break;
			}

			/*
			 * Metrics are ready.
			 * Select a fixed LED.
			 */
			switch (metrics.quality)
			{
				case LINK_QUALITY_GOOD:

					requested_mode =
							LED_STATUS_LINK_GREEN;

					break;

				case LINK_QUALITY_MARGINAL:

					requested_mode =
							LED_STATUS_LINK_ORANGE;

					break;

				case LINK_QUALITY_BAD:

					requested_mode =
							LED_STATUS_LINK_RED;

					break;

				case LINK_QUALITY_EVALUATING:

				default:

					requested_mode =
							LED_STATUS_LINK_TEST;

					break;
			}

			break;
		}

		case NODE_WAIT_DEPLOY_CONFIRM:
		{
			/*
			 * Preserve the last link-quality indication
			 * while the deployment handshake completes.
			 */
			return;
		}

		case NODE_DEPLOYED:

			/*
			 * After deployment set desired LED status
			 */
			requested_mode =
				LED_STATUS_DEPLOYED;

			break;

		default:

			requested_mode =
					LED_STATUS_OFF;

			break;
	}

	/*
	 * Avoid resetting the blinking phase or rewriting
	 * GPIOs continuously when the requested mode has
	 * not changed.
	 */
	if ((!initialized) ||
			(requested_mode != current_mode))
	{
		status_led_set_mode(
				requested_mode
		);

		current_mode =
				requested_mode;

		initialized =
				true;
	}
}

// --------------------------------------------------------------------------------------

// -------------------------- System Power down routines --------------------------------

/*
 * Enter stop mode and resume clock configurations on exit
 */
void enterStopMode(){

//  // Stop LPTIM and clear pending bits
//  HAL_LPTIM_Counter_Stop_IT(&hlptim1);
//  LPTIM1->ICR |= 0x3F;
//
//  // CLear LPTIM IRQ at NVIC level
//  NVIC_ClearPendingIRQ(LPTIM1_IRQn);

  // wake from HSI --> faster wake up sequence:
	__HAL_RCC_WAKEUPSTOP_CLK_CONFIG(RCC_STOP_WAKEUPCLOCK_HSI);

	// Enter stop mode 2:
	HAL_PWREx_EnterSTOP2Mode(PWR_STOPENTRY_WFI);

	// awake here...

	// resume system clock:
	if(READ_BIT(RCC->CR, RCC_CR_PLLRDY) == 0U) MySystemClock_Config();

	// resume system tick with correct clock
//	__enable_irq();
//	HAL_ResumeTick();

	// Enable LPTIM again:
//	HAL_LPTIM_Counter_Start_IT(&hlptim1, 0xFFFF);
}

/*
 * Modified clock setup function:
 * -> Avoid repeating initialization for the LSE 32 kHz clock if already running.
 *    Doing this every time the MCU exits STOP mode, results in a corrupted timing accuracy.
 */
void MySystemClock_Config(void) {
  RCC_OscInitTypeDef RCC_OscInitStruct = {0};
  RCC_ClkInitTypeDef RCC_ClkInitStruct = {0};

  /** Configure the main internal regulator output voltage
  */
  if (HAL_PWREx_ControlVoltageScaling(PWR_REGULATOR_VOLTAGE_SCALE1) != HAL_OK)
  {
    Error_Handler();
  }

  /** Configure LSE Drive Capability only if it
  */
  if ((HAL_IS_BIT_SET(RCC->BDCR, RCC_BDCR_LSEON) == 0) || (HAL_IS_BIT_SET(RCC->BDCR, RCC_BDCR_LSERDY)) != 1){
  	HAL_PWR_EnableBkUpAccess();
		__HAL_RCC_LSEDRIVE_CONFIG(RCC_LSEDRIVE_LOW);

		RCC_OscInitStruct.OscillatorType = RCC_OSCILLATORTYPE_LSE;
  }

  /** Initializes the RCC Oscillators according to the specified parameters
  * in the RCC_OscInitTypeDef structure.
  */
  RCC_OscInitStruct.OscillatorType |= RCC_OSCILLATORTYPE_HSI;
  RCC_OscInitStruct.LSEState = RCC_LSE_ON;
  RCC_OscInitStruct.HSIState = RCC_HSI_ON;
  RCC_OscInitStruct.HSICalibrationValue = RCC_HSICALIBRATION_DEFAULT;
  RCC_OscInitStruct.PLL.PLLState = RCC_PLL_ON;
  RCC_OscInitStruct.PLL.PLLSource = RCC_PLLSOURCE_HSI;
  RCC_OscInitStruct.PLL.PLLM = 1;
  RCC_OscInitStruct.PLL.PLLN = 10;
  RCC_OscInitStruct.PLL.PLLP = RCC_PLLP_DIV7;
  RCC_OscInitStruct.PLL.PLLQ = RCC_PLLQ_DIV8;
  RCC_OscInitStruct.PLL.PLLR = RCC_PLLR_DIV2;
  if (HAL_RCC_OscConfig(&RCC_OscInitStruct) != HAL_OK)
  {
    Error_Handler();
  }

  /** Initializes the CPU, AHB and APB buses clocks
  */
  RCC_ClkInitStruct.ClockType = RCC_CLOCKTYPE_HCLK|RCC_CLOCKTYPE_SYSCLK
                              |RCC_CLOCKTYPE_PCLK1|RCC_CLOCKTYPE_PCLK2;
  RCC_ClkInitStruct.SYSCLKSource = RCC_SYSCLKSOURCE_PLLCLK;
  RCC_ClkInitStruct.AHBCLKDivider = RCC_SYSCLK_DIV1;
  RCC_ClkInitStruct.APB1CLKDivider = RCC_HCLK_DIV1;
  RCC_ClkInitStruct.APB2CLKDivider = RCC_HCLK_DIV1;

  if (HAL_RCC_ClockConfig(&RCC_ClkInitStruct, FLASH_LATENCY_4) != HAL_OK)
  {
    Error_Handler();
  }
}

// --------------------------------------------------------------------------------------

// ------------------------------------- Call-backs --------------------------------------

// Auto-reload callback for LPTIM module
void HAL_LPTIM_AutoReloadMatchCallback(LPTIM_HandleTypeDef *hlptim){
  lptim_tick_msb += 0x10000;

  // Tick LEDs indicators
  status_led_tick();
}

// Compare match callback for LPTIM module
void HAL_LPTIM_CompareMatchCallback(LPTIM_HandleTypeDef *hlptim){
  // do nothing...
}

// RTC wkup timer -> needed to schedule tx events
void HAL_RTCEx_WakeUpTimerEventCallback(RTC_HandleTypeDef *hrtc){

	/* Start counter only if in FIFO standby mode (alarm standby) */
	if (h_buffs.state == FIFO_ALARM_STDBY){
		alrm_cycles_cnt+=1;
		if (alrm_cycles_cnt < ALARM_TIMEOUT_CYCLES) {
			//h_sys.evt_flags |= SYS_EVT_TX_PENDING;
			return;
		}
	}

	h_sys.tx_pending = true;
}

// GPIO external interrupts callback
void HAL_GPIO_EXTI_Callback(uint16_t GPIO_Pin){

	// Events on RFM95 interrupt pins
  if (GPIO_Pin == RFM95_DIO0_Pin)
  {
    rfm95_on_interrupt(&rfm95_handle, RFM95_INTERRUPT_DIO0);

    // something received
    if(rfm95_handle.rfm_status == RXCONTIN_MODE)
    {
    	//h_sys.evt_flags |= SYS_EVT_RX_PENDING;
    	h_sys.rx_pending = true;
    }

  }

  else if (GPIO_Pin == RFM95_DIO1_Pin)
  {
    rfm95_on_interrupt(&rfm95_handle, RFM95_INTERRUPT_DIO1);
  }

  else if (GPIO_Pin == RFM95_DIO5_Pin)
  {
    rfm95_on_interrupt(&rfm95_handle, RFM95_INTERRUPT_DIO5);
  }

  // Operating mode switch (from DISCOVERY -> DEPLOYMENT)
  if (GPIO_Pin == MODE_SEL_Pin)
  {
  	h_sys.deploy_pending =
  	        true;
  }
}

// ----------------------------------------------------------------------------------------

// --------------------------------- DEBUG FUNCTIONS --------------------------------------

void print_LL(){

  if (h_tx.ll_status == LL_EMPTY){

    printf("\n\nIns Idx %i\r\n\n", h_tx.ins_idx);

    for(int i = 0; i < BUFF_FIFO_SIZE; i++){
      printf("[");
      printf("%i->",i);
      printf("%i]  ",h_tx.ll_buff[i].next_free_idx);
    }

    printf("\r\n");
    return;
  }

  uint16_t i = h_tx.head;
  while(i != LL_IDX_IS_TAIL){
    printf("[");
    printf("%i<-",h_tx.ll_buff[i].prev_element_idx);
    printf("%i->",h_tx.ll_buff[i].idx_rx_buff);
    printf("%i]  ",h_tx.ll_buff[i].next_element_idx);

    i = h_tx.ll_buff[i].next_element_idx;
  }

  printf("\r\n");
}

/*
 * Function used to print on UART serial (DEBUG)
 */
int _write(int file, char *ptr, int len) {
  HAL_UART_Transmit(&huart1, (uint8_t *)ptr, len, HAL_MAX_DELAY);
  return len;
}

/*
 * Use these two functions to SET/RESET the debug pin.
 * This allows to measure precise timing with an external DSO/Meter.
 *
 * example:
 *
 *  debug_pin_set();
 *  target_function();
 *  debug_pin_reset();
 *
 * allows to measure time execution of the target_function().
 */
void debug_pin_set(){
  HAL_GPIO_WritePin(Test_GPIO_Port, Test_Pin, GPIO_PIN_SET);
}

void debug_pin_rst(){
  HAL_GPIO_WritePin(Test_GPIO_Port, Test_Pin, GPIO_PIN_RESET);
}

// -----------------------------------------------------------------------------------------

/* USER CODE END 4 */

void Error_Handler(void)
{
  __disable_irq();
  while (1)
  {
  }
}
